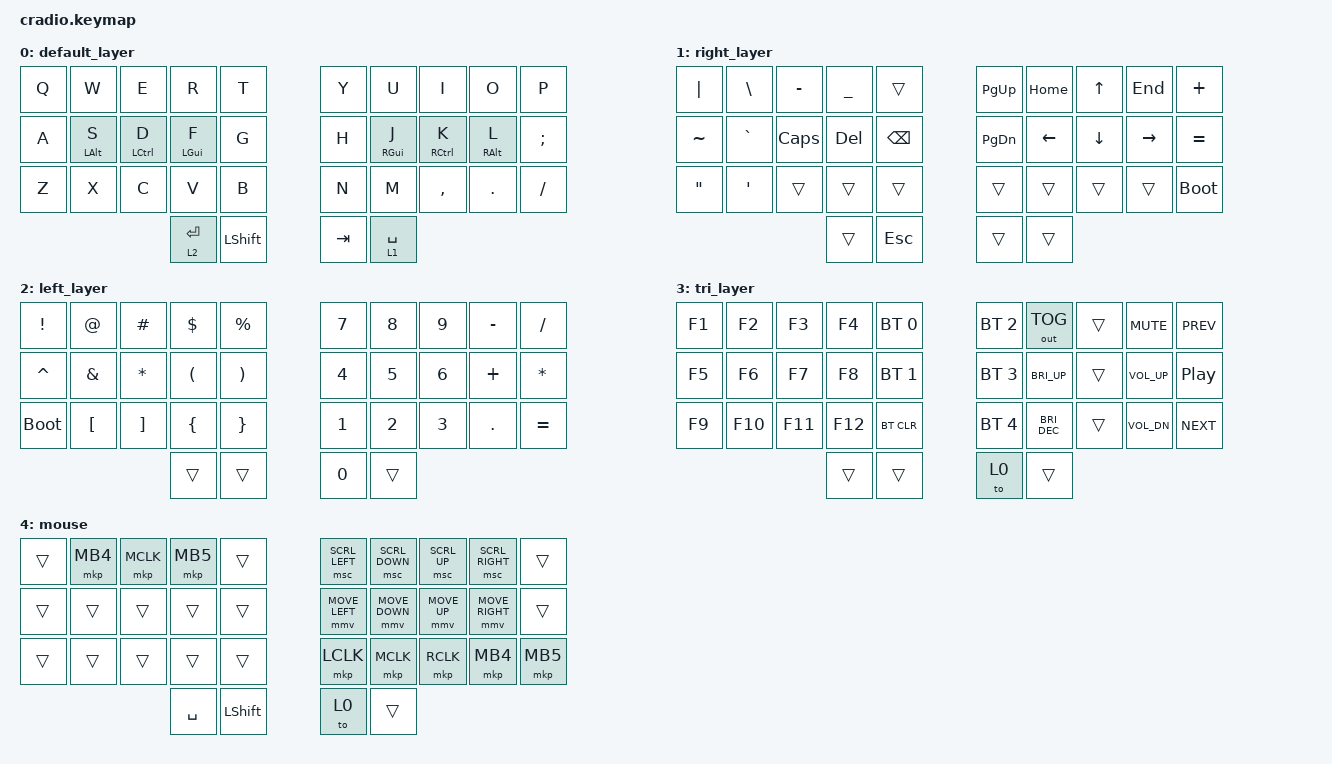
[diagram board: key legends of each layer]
// Copyright (c) 2022 The ZMK Contributors
// SPDX-License-Identifier: MIT

#define ZMK_MOUSE_DEFAULT_MOVE_VAL 2500  // 600
#define ZMK_MOUSE_DEFAULT_SCRL_VAL 20    // 10

#include <behaviors.dtsi>
#include <dt-bindings/zmk/bt.h>
#include <dt-bindings/zmk/keys.h>
#include <dt-bindings/zmk/mouse.h>
#include <dt-bindings/zmk/outputs.h>

#define MAC 0
#define WIN 1
#define RIG 2
#define LEF 3
#define TRI 4
#define MOUSE 5
#define U_MS_U &mmv MOVE_UP
#define U_MS_D &mmv MOVE_DOWN
#define U_MS_L &mmv MOVE_LEFT
#define U_MS_R &mmv MOVE_RIGHT
#define U_WH_U &msc SCRL_UP
#define U_WH_D &msc SCRL_DOWN
#define U_WH_L &msc SCRL_LEFT
#define U_WH_R &msc SCRL_RIGHT

/ {
    chosen { zmk,charmap = &charmap_us; };

    behaviors {
        ht: hold_tap {
            label = "hold_tap";
            compatible = "zmk,behavior-hold-tap";
            #binding-cells = <2>;
            flavor = "tap-preferred";
            tapping-term-ms = <220>;
            quick-tap-ms = <150>;
            global-quick-tap;
            bindings = <&kp>, <&kp>;
        };

        mmv {
            acceleration-exponent = <1>;      // 1
            time-to-max-speed-ms = <300>;    // 40
            delay-ms = <0>;                   // 0
        };

        msc {
            acceleration-exponent = <0>;      // 0
            time-to-max-speed-ms = <40>;      // 500
            delay-ms = <0>;                   // 10
        };
    };

    conditional_layers {
        compatible = "zmk,conditional-layers";

        tri_layer {
            if-layers = <1 2>;
            then-layer = <3>;
        };
    };

    keymap {
        compatible = "zmk,keymap";

        default_layer {
            bindings = <
&kp Q  &kp W       &kp E        &kp R         &kp T             &kp Y    &kp U        &kp I        &kp O       &kp P
&kp A  &ht LALT S  &ht LCTRL D  &ht LGUI F    &kp G             &kp H    &ht RGUI J   &ht RCTRL K  &ht RALT L  &kp SEMICOLON
&kp Z  &kp X       &kp C        &kp V         &kp B             &kp N    &kp M        &kp COMMA    &kp DOT     &kp SLASH
                                &lt 2 RETURN  &kp LEFT_SHIFT    &kp TAB  &lt 1 SPACE
            >;
        };

        right_layer {
            bindings = <
&kp PIPE           &kp BACKSLASH     &kp MINUS     &kp UNDERSCORE  &trans           &kp PAGE_UP    &kp HOME        &kp UP_ARROW    &kp END          &kp PLUS
&kp TILDE          &kp GRAVE         &kp CAPSLOCK  &kp DELETE      &kp BACKSPACE    &kp PAGE_DOWN  &kp LEFT_ARROW  &kp DOWN_ARROW  &kp RIGHT_ARROW  &kp EQUAL
&kp DOUBLE_QUOTES  &kp SINGLE_QUOTE  &trans        &trans          &trans           &trans         &trans          &trans          &trans           &bootloader
                                                   &trans          &kp ESC          &trans         &trans
            >;
        };

        left_layer {
            bindings = <
&kp EXCL     &kp AT            &kp HASH           &kp DLLR              &kp PRCNT                &kp NUMBER_7  &kp NUMBER_8  &kp NUMBER_9  &kp MINUS  &kp SLASH
&kp CARET    &kp AMPERSAND     &kp ASTERISK       &kp LEFT_PARENTHESIS  &kp RIGHT_PARENTHESIS    &kp NUMBER_4  &kp NUMBER_5  &kp NUMBER_6  &kp PLUS   &kp ASTERISK
&bootloader  &kp LEFT_BRACKET  &kp RIGHT_BRACKET  &kp LEFT_BRACE        &kp RIGHT_BRACE          &kp NUMBER_1  &kp NUMBER_2  &kp NUMBER_3  &kp DOT    &kp EQUAL
                                                  &trans                &trans                   &kp NUMBER_0  &trans
            >;
        };

        tri_layer {
            bindings = <
&kp F1  &kp F2   &kp F3   &kp F4   &bt BT_SEL 0    &bt BT_SEL 2  &out OUT_TOG   &trans  &kp C_MUTE    &kp C_PREV
&kp F5  &kp F6   &kp F7   &kp F8   &bt BT_SEL 1    &bt BT_SEL 3  &kp C_BRI_UP   &trans  &kp C_VOL_UP  &kp C_PP
&kp F9  &kp F10  &kp F11  &kp F12  &bt BT_CLR      &bt BT_SEL 4  &kp C_BRI_DEC  &trans  &kp C_VOL_DN  &kp C_NEXT
                          &trans   &trans          &to 0         &trans
            >;
        };

        mouse {
            bindings = <
&trans  &mkp MB4  &mkp MCLK  &mkp MB5   &trans        &msc SCRL_LEFT  &msc SCRL_DOWN  &msc SCRL_UP  &msc SCRL_RIGHT  &trans
&trans  &trans    &trans     &trans     &trans        &mmv MOVE_LEFT  &mmv MOVE_DOWN  &mmv MOVE_UP  &mmv MOVE_RIGHT  &trans
&trans  &trans    &trans     &trans     &trans        &mkp LCLK       &mkp MCLK       &mkp RCLK     &mkp MB4         &mkp MB5
                             &kp SPACE  &kp LSHIFT    &to 0           &trans
            >;
        };
    };
};
